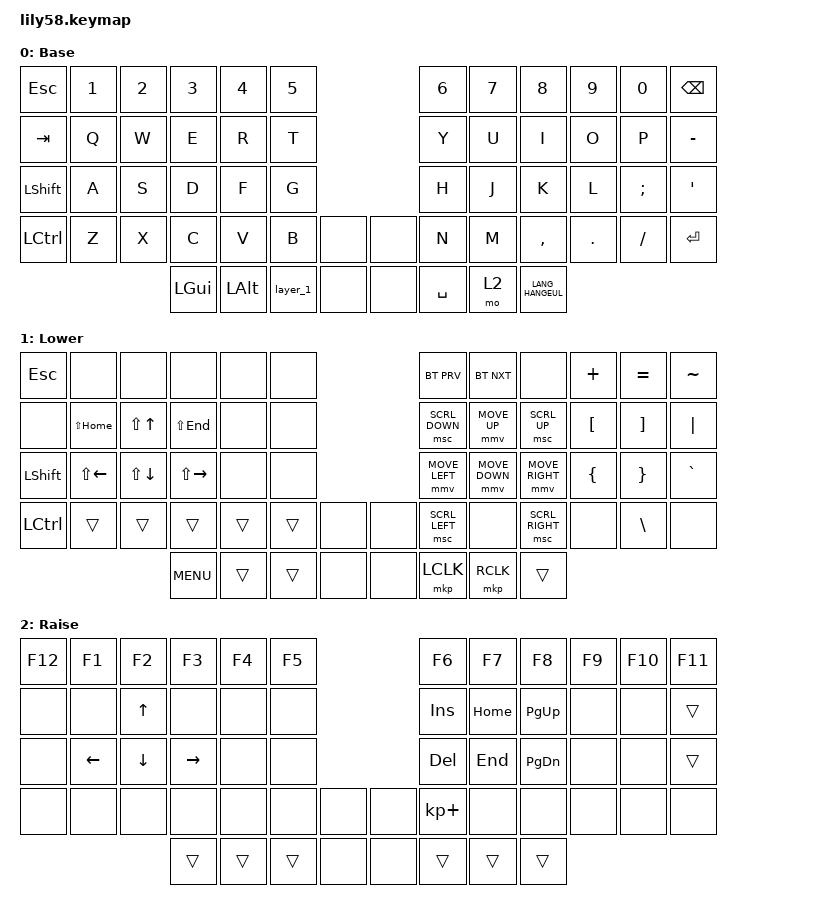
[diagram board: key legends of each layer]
/*
 * Copyright (c) 2020 The ZMK Contributors
 *
 * SPDX-License-Identifier: MIT
 */

#define ZMK_POINTING_DEFAULT_MOVE_VAL 1200

#include <behaviors.dtsi>
#include <dt-bindings/zmk/bt.h>
#include <dt-bindings/zmk/keys.h>
#include <dt-bindings/zmk/pointing.h>

&mmv {
    time-to-max-speed-ms = <900>;
    acceleration-exponent = <1>;
};

/ {
    behaviors {
        layer_1: layer_1 {
            compatible = "zmk,behavior-tap-dance";
            label = "LAYER_1";
            #binding-cells = <0>;
            bindings = <&mo 1>, <&tog 1>;

            tapping-term-ms = <250>;
        };
    };

    keymap {
        compatible = "zmk,keymap";

        default_layer {
            // ------------------------------------------------------------------------------------------------------------
            // |  ESC  |  1  |  2  |  3   |  4   |  5   |                   |  6   |  7    |  8    |  9   |   0   |   `   |
            // |  TAB  |  Q  |  W  |  E   |  R   |  T   |                   |  Y   |  U    |  I    |  O   |   P   |   -   |
            // |  CTRL |  A  |  S  |  D   |  F   |  G   |                   |  H   |  J    |  K    |  L   |   ;   |   '   |
            // | SHIFT |  Z  |  X  |  C   |  V   |  B   |  n/a   |  |  n/a  |  N   |  M    |  ,    |  .   |   /   | SHIFT |
            //                     | GUI  | LOWER| SPACE|  n/a   |  |  n/a  | ENTER| RAISE | BSPC  |
            // Note: Silakka54 has 54 keys - the 4 positions marked n/a are not present (inner thumb + encoder positions)

            display-name = "Base";
            bindings = <
&kp ESC           &kp N1  &kp N2  &kp N3    &kp N4        &kp N5                    &kp N6     &kp N7  &kp N8            &kp N9   &kp N0    &kp BACKSPACE
&kp TAB           &kp Q   &kp W   &kp E     &kp R         &kp T                     &kp Y      &kp U   &kp I             &kp O    &kp P     &kp MINUS
&kp LEFT_SHIFT    &kp A   &kp S   &kp D     &kp F         &kp G                     &kp H      &kp J   &kp K             &kp L    &kp SEMI  &kp SQT
&kp LEFT_CONTROL  &kp Z   &kp X   &kp C     &kp V         &kp B     &none    &none  &kp N      &kp M   &kp COMMA         &kp DOT  &kp FSLH  &kp ENTER
                                  &kp LGUI  &kp LEFT_ALT  &layer_1  &none    &none  &kp SPACE  &mo 2   &kp LANG_HANGEUL
            >;
        };

        lower_layer {
            // ------------------------------------------------------------------------------------------------------------
            // | BTCLR | BT1 | BT2 |  BT3 |  BT4 |  BT5 |                   | USB  | BLE   |       |      |       |BTCLRALL|
            // |  F1   |  F2 |  F3 |  F4  |  F5  |  F6  |                   |  F7  |  F8   |  F9   |  F10 |  F11  |  F12  |
            // |   `   |  !  |  @  |  #   |  $   |  %   |                   |  ^   |  &    |  *    |  (   |   )   |   ~   |
            // |       |     |     |      |      |      |  n/a   |  |  n/a  |      |  _    |  +    |  {   |   }   |  "|"  |
            //                     |      |      |      |  n/a   |  |  n/a  |      |       |       |

            display-name = "Lower";
            bindings = <
&kp ESC           &none               &none               &none          &none   &none                   &bt BT_PRV      &bt BT_NXT      &none            &kp PLUS          &kp EQUAL          &kp TILDE
&none             &kp LS(HOME)        &kp LS(UP_ARROW)    &kp LS(END)    &none   &none                   &msc SCRL_DOWN  &mmv MOVE_UP    &msc SCRL_UP     &kp LEFT_BRACKET  &kp RIGHT_BRACKET  &kp PIPE
&kp LEFT_SHIFT    &kp LS(LEFT_ARROW)  &kp LS(DOWN_ARROW)  &kp LS(RIGHT)  &none   &none                   &mmv MOVE_LEFT  &mmv MOVE_DOWN  &mmv MOVE_RIGHT  &kp LEFT_BRACE    &kp RIGHT_BRACE    &kp GRAVE
&kp LEFT_CONTROL  &trans              &trans              &trans         &trans  &trans  &none    &none  &msc SCRL_LEFT  &none           &msc SCRL_RIGHT  &none             &kp BACKSLASH      &none
                                                          &kp C_MENU     &trans  &trans  &none    &none  &mkp LCLK       &mkp RCLK       &trans
            >;
        };

        raise_layer {
            // ------------------------------------------------------------------------------------------------------------
            // |       |     |     |      |      |      |                   |      |       |       |      |       |       |
            // |   `   |  1  |  2  |  3   |  4   |  5   |                   |  6   |   7   |   8   |  9   |   0   |       |
            // |   F1  |  F2 |  F3 |  F4  |  F5  |  F6  |                   |      |   <-  |   v   |  ^   |  ->   |       |
            // |   F7  |  F8 |  F9 |  F10 |  F11 |  F12 |  n/a   |  |  n/a  |  +   |   -   |   =   |  [   |   ]   |   \   |
            //                     |      |      |      |  n/a   |  |  n/a  |      |       |       |

            display-name = "Raise";
            bindings = <
&kp F12  &kp F1          &kp F2          &kp F3           &kp F4  &kp F5                  &kp F6       &kp F7    &kp F8         &kp F9  &kp F10  &kp F11
&none    &none           &kp UP_ARROW    &none            &none   &none                   &kp INSERT   &kp HOME  &kp PAGE_UP    &none   &none    &trans
&none    &kp LEFT_ARROW  &kp DOWN_ARROW  &kp RIGHT_ARROW  &none   &none                   &kp DELETE   &kp END   &kp PAGE_DOWN  &none   &none    &trans
&none    &none           &none           &none            &none   &none   &none    &none  &kp KP_PLUS  &none     &none          &none   &none    &none
                                         &trans           &trans  &trans  &none    &none  &trans       &trans    &trans
            >;
        };

        extra_1 { status = "reserved"; };

        extra_2 { status = "reserved"; };

        extra_3 { status = "reserved"; };
    };

    conditional_layers { compatible = "zmk,conditional-layers"; };
};
